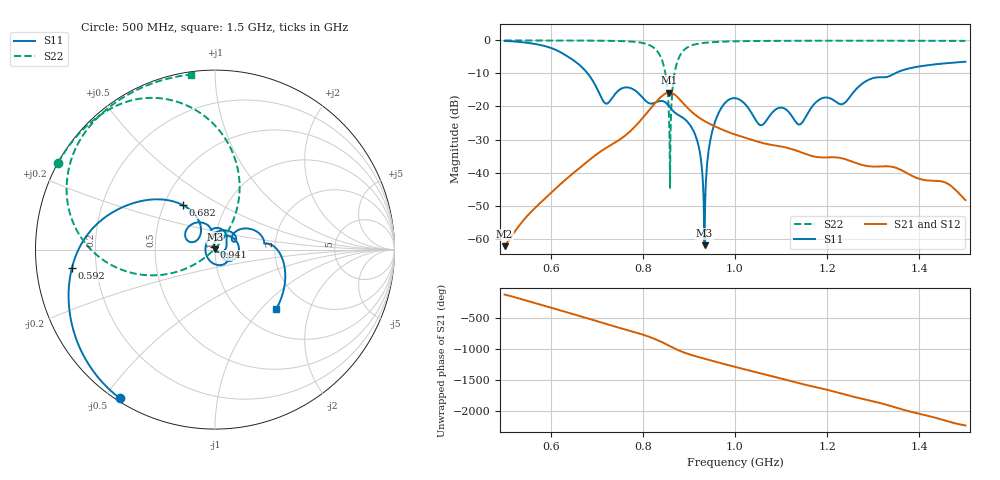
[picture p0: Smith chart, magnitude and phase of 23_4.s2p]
! TOUCHSTONE file generated by CST MICROWAVE STUDIO
! Date and time: Fri Oct  2 16:57:43 2020
! Project name: Scenario_1_Free_Space_out_of_line.cst
! Parameters = {Lambda=346.42; Step_1=17.321; dy1=-33.862; dx1=693; L_HA=400; MT=2.54; Rad_Dielectric=30; Rad_Lower=7.3; Rad_Upper=30; a_HA=580; a_WG=246; b_HA=500; b_WG=121; c_HA=0; c_WG=187; d_feed=85; h_feed=15; h_lower=18; h_upper=40}
! Header version: 2018
! Port assignment regex: !\s*Touchstone port\s*([0-9]+)\s*=\s*(CST MWS port|CST DS port)\s*([0-9]+|Zmin|Zmax)\s*\(\"(.*)\"\)(\s*mode\s*([0-9]+))?.*
! Touchstone port assignment:
! Touchstone port 1 = CST MWS port 1 ("")
! Touchstone port 2 = CST MWS port 2 ("")
# GHz S DB R 50
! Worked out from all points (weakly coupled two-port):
!   1003 points, 500 MHz to 1.5 GHz, reference 50 ohm
!   highest |S21| = -15.77 dB at 857 MHz (marker M1); lowest = -62.3 dB at 500 MHz (marker M2)
!   lowest |S11| = -62.0 dB at 934 MHz (marker M3), VSWR 1.00, Z = 49.9 + j0.0587 ohm
!   |S11| at or under -10 dB: 680.2 MHz to 1.347 GHz (666.6 MHz wide, 65.8 % of centre)
!   |S22| runs from -44.6 to 0.0 dB; largest |S21 - S12| = 3.2e-06
!   S11 on the Smith chart (normalised r, x): 500 MHz: 0.01, -0.55; 592 MHz: 0.11, -0.06; 682 MHz: 0.63, +0.34; 941 MHz: 0.99, +0.03; 1.5 GHz: 1.42, -1.22
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0.5  -0.15 -122.7  -62.28 -116.2  -62.28 -116.2  -0.01 151.1
0.592  -1.89 -172.6  -47.28 49.7  -47.28 49.7  -0.02 144.7
0.667  -8.00 135.6  -38.11 -111.9  -38.11 -111.9  -0.04 138.3
0.682  -10.32 125.7  -36.40 -144.8  -36.40 -144.8  -0.06 136.8
0.719  -19.07 141.0  -32.65 131.6  -32.65 131.6  -0.10 132.4
0.764  -14.21 141.8  -28.54 35.7  -28.54 35.7  -0.25 124.4
0.834  -18.43 89.9  -17.84 -139.8  -17.84 -139.8  -3.79 86.6
0.848  -18.66 66.3  -16.18 171.1  -16.18 171.1  -9.29 66.6
0.857  -19.90 50.8  -15.77 136.6  -15.77 136.6  -24.04 52.9
0.868  -21.68 38.7  -16.31 94.8  -16.31 94.8  -10.63 -152.6
0.88  -22.78 26.4  -17.85 54.2  -17.85 54.2  -4.71 -171.3
0.916  -29.48 -27.5  -22.77 -35.9  -22.77 -35.9  -1.10 159.7
0.934  -61.99 132.4  -24.42 -73.6  -24.42 -73.6  -0.72 153.1
0.941  -35.30 110.9  -24.96 -87.9  -24.96 -87.9  -0.62 151.1
0.963  -22.38 69.9  -26.44 -132.2  -26.44 -132.2  -0.42 146.1
1  -17.48 -1.2  -28.47 155.6  -28.47 155.6  -0.26 140.2
1.056  -25.67 -32.6  -30.91 48.9  -30.91 48.9  -0.16 133.8
1.099  -20.33 -49.4  -32.08 -31.4  -32.08 -31.4  -0.12 129.8
1.141  -25.43 174.0  -33.73 -112.8  -33.73 -112.8  -0.10 126.2
1.167  -20.10 84.4  -34.98 -158.7  -34.99 -158.7  -0.09 124.1
1.334  -10.87 6.9  -38.13 -108.5  -38.13 -108.5  -0.09 111.4
1.5  -6.44 -44.4  -48.33 -71.5  -48.33 -71.5  -0.14 97.9
